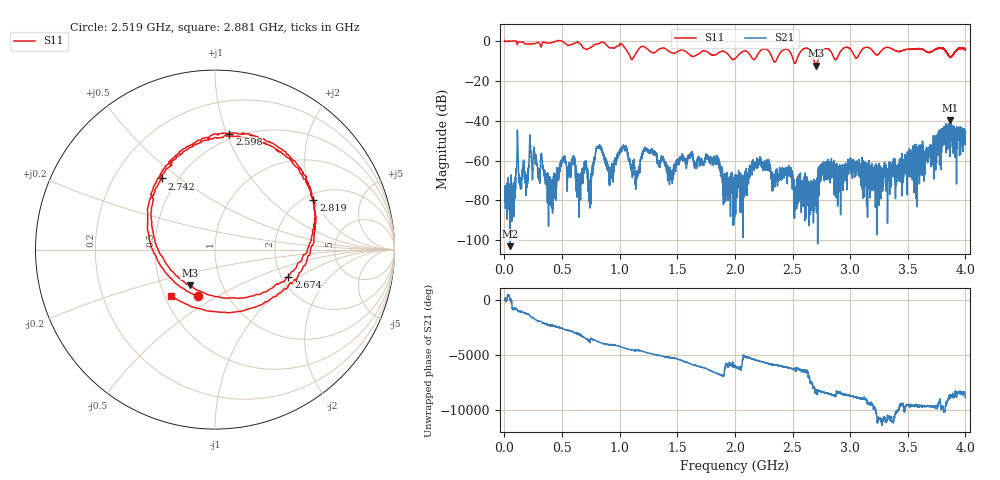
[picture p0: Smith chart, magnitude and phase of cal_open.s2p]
!Created with skrf (http://scikit-rf.org).
# GHz S RI R 50.0
!freq ReS11 ImS11 ReS21 ImS21 ReS12 ImS12 ReS22 ImS22
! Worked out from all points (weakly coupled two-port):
!   4000 points, 1 MHz to 4 GHz, reference 50 ohm
!   highest |S21| = -39.61 dB at 3.87 GHz (marker M1); lowest = -103.1 dB at 48 MHz (marker M2)
!   lowest |S11| = -12.3 dB at 2.704 GHz (marker M3), VSWR 1.64, Z = 35.1 - j14.8 ohm
!   |S11| at or under -10 dB: 2.337 GHz to 2.355 GHz (18.65 MHz wide, 0.795 % of centre); 2.509 GHz to 2.532 GHz (22.88 MHz wide, 0.908 % of centre); 2.688 GHz to 2.718 GHz (29.54 MHz wide, 1.09 % of centre)
!   S12 and S22 are empty: the file has one direction only
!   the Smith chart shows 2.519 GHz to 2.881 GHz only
!   S11 on the Smith chart (normalised r, x): 2.519 GHz: 0.73, -0.41; 2.598 GHz: 0.46, +1.02; 2.674 GHz: 2.17, -0.82; 2.742 GHz: 0.41, +0.43; 2.819 GHz: 2.23, +1.97; 2.881 GHz: 0.54, -0.32
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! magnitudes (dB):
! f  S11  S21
! 1 MHz  0.4  -75.4
! 48 MHz  0.1  -103.1
! 237 MHz  -1.3  -61.7
! 402 MHz  -0.8  -75.8
! 513 MHz  -0.5  -58.8
! 668 MHz  -1.9  -71.4
! 819 MHz  -1.2  -53.0
! 923 MHz  -3.4  -66.8
! 1.334 GHz  -4.2  -60.3
! 2.001 GHz  -8.7  -72.9
! 2.209 GHz  -5.5  -59.9
! 2.519 GHz  -11.1  -80.1
! 2.598 GHz  -3.7  -79.1
! 2.667 GHz  -6.1  -76.1
! 2.674 GHz  -7.2  -76.4
! 2.704 GHz  -12.3  -73.8
! 2.742 GHz  -6.1  -70.8
! 2.819 GHz  -4.2  -61.0
! 2.881 GHz  -9.0  -70.9
! 3.334 GHz  -3.1  -64.5
! 3.87 GHz  -8.1  -39.6
! 4 GHz  -4.4  -51.1
